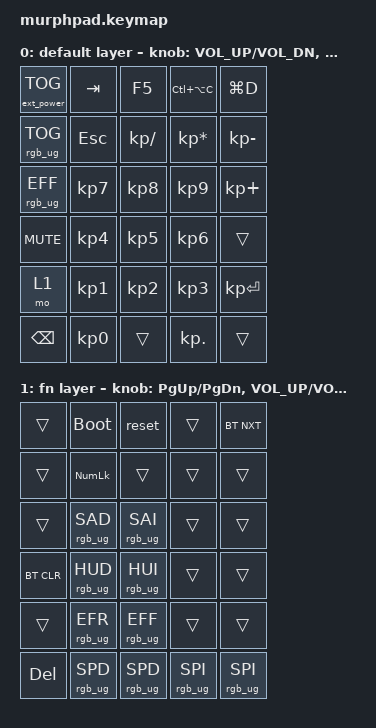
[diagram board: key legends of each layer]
/*
 * Copyright (c) 2021 The ZMK Contributors
 *
 * SPDX-License-Identifier: MIT
 */

#include <behaviors.dtsi>
#include <dt-bindings/zmk/keys.h>
#include <dt-bindings/zmk/bt.h>
#include <dt-bindings/zmk/rgb.h>
#include <dt-bindings/zmk/ext_power.h>


#define TIMEOUT 300

&encoder_1 {
	status = "okay";
};

&encoder_2 {
	status = "okay";
};

/ {
    combos {
        compatible = "zmk,combos";
        combo_btclr {
            timeout-ms = <TIMEOUT>;
            key-positions = <1 6>;
            bindings = <&bt BT_CLR>;
        };
        combo_reset {
            timeout-ms = <TIMEOUT>;
            key-positions = <1 3>;
            bindings = <&reset>;
        };
        combo_bootloader {
            timeout-ms = <TIMEOUT>;
            key-positions = <1 2>;
            bindings = <&bootloader>;
        };
        combo_bt_nxt {
            timeout-ms = <TIMEOUT>;
            key-positions = <1 4>;
            bindings = <&bt BT_NXT>;
        };
    };
	
	sensors {
		compatible = "zmk,keymap-sensors";
		sensors = <&encoder_1 &encoder_2>;
	};


	keymap0: keymap {
		compatible = "zmk,keymap";

		default_layer {
		label = "default layer";
            bindings = <
                &ext_power EP_TOG &kp TAB      &kp F5          &kp LC(LA(C))     &kp LG(D)   
                &rgb_ug RGB_TOG  &kp ESC      &kp KP_DIVIDE   &kp KP_MULTIPLY   &kp KP_MINUS    
                &rgb_ug RGB_EFF  &kp KP_N7    &kp KP_N8       &kp KP_N9         &kp KP_PLUS   
                &kp C_MUTE       &kp KP_N4    &kp KP_N5       &kp KP_N6         &trans
                &mo 1            &kp KP_N1    &kp KP_N2       &kp KP_N3         &kp KP_ENTER
                &kp BSPC         &kp KP_N0    &trans          &kp KP_DOT        &trans
            >;
			sensor-bindings = <&inc_dec_kp C_VOL_UP C_VOL_DN &inc_dec_kp PG_UP PG_DN>;

        }; 
		
        fn_layer {
		label = "fn layer";
            bindings = <
                &trans      &bootloader         &reset                 &trans          &bt BT_NXT
                &trans      &kp KP_NUM          &trans                 &trans          &trans     
                &trans      &rgb_ug RGB_SAD     &rgb_ug RGB_SAI        &trans	       &trans
                &bt BT_CLR  &rgb_ug RGB_HUD     &rgb_ug RGB_HUI        &trans          &trans    
                &trans      &rgb_ug RGB_EFR     &rgb_ug RGB_EFF        &trans          &trans 
                &kp DEL    	&rgb_ug RGB_SPD     &rgb_ug RGB_SPD        &rgb_ug RGB_SPI &rgb_ug RGB_SPI          
            >;  
			sensor-bindings = <&inc_dec_kp PG_UP PG_DN &inc_dec_kp C_VOL_UP C_VOL_DN>;
                
        };
    };
};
